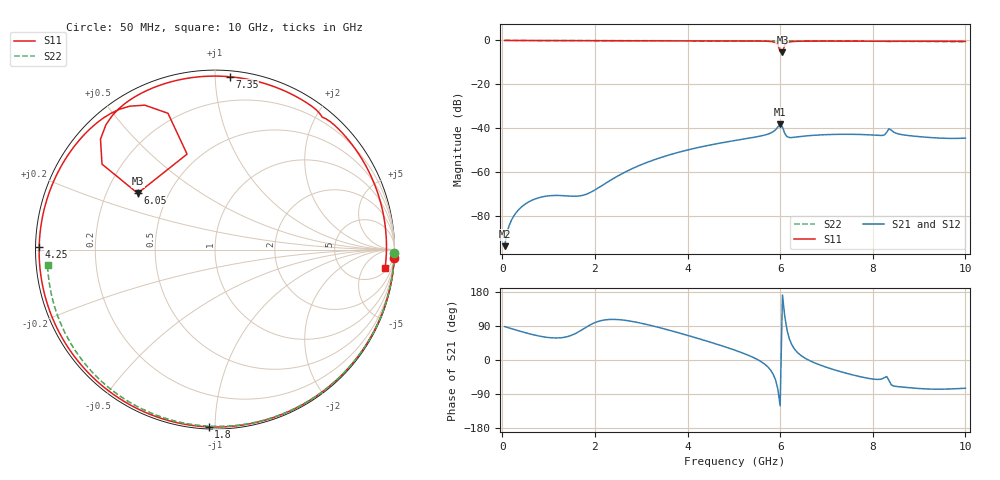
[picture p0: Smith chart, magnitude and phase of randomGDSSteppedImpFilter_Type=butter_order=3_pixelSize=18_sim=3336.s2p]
! freq	dB(S11)	phase(S11)	dB(S12)	phase(S12)
!  dB(S21)	phase(S21)	dB(S22)	phase(S22)
!S-par simulation data
#  GHz  S  DB  R 50
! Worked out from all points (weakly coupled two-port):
!   200 points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, 50 MHz to 10 GHz, reference 50 ohm
!   highest |S21| = -38.15 dB at 6 GHz (marker M1); lowest = -93.7 dB at 50 MHz (marker M2)
!   lowest |S11| = -5.5 dB at 6.05 GHz (marker M3), VSWR 3.28, Z = 16.7 + j14.6 ohm
!   |S11| at or under -10 dB: nowhere
!   |S22| runs from -0.6 to 0.0 dB; largest |S21 - S12| = 0
!   S11 on the Smith chart (normalised r, x): 50 MHz: 0, -41; 1.8 GHz: 0.01, -0.96; 4.25 GHz: 0.01, +0.01; 6.05 GHz: 0.33, +0.29; 7.35 GHz: 0.04, +1.09; 10 GHz: 7, -16
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0.05  -0.00 -2.8  -93.69 88.1  -93.69 88.1  -0.00 -1.0
0.25  -0.02 -14.0  -79.89 80.7  -79.89 80.7  -0.01 -5.1
0.55  -0.04 -30.4  -73.78 70.3  -73.78 70.3  -0.02 -11.2
0.95  -0.06 -51.5  -70.90 60.0  -70.90 60.0  -0.02 -19.3
1.75  -0.10 -89.9  -70.46 81.9  -70.46 81.9  -0.05 -35.3
1.8  -0.10 -92.1  -70.14 85.7  -70.14 85.7  -0.05 -36.3
2.6  -0.13 -124.7  -60.52 105.5  -60.52 105.5  -0.07 -51.7
3.4  -0.15 -153.2  -53.48 85.3  -53.48 85.3  -0.09 -66.6
4.25  -0.18 179.1  -48.67 56.0  -48.67 56.0  -0.12 -81.8
5.05  -0.22 153.7  -45.48 24.8  -45.48 24.8  -0.15 -95.6
5.65  -0.32 132.3  -43.18 -9.5  -43.18 -9.5  -0.18 -105.5
5.9  -0.97 115.9  -40.69 -52.5  -40.69 -52.5  -0.19 -109.6
6  -5.12 106.3  -38.15 -121.0  -38.15 -121.0  -0.20 -111.3
6.05  -5.47 143.9  -39.41 171.6  -39.41 171.6  -0.20 -112.1
6.1  -2.06 142.9  -42.38 114.7  -42.38 114.7  -0.20 -112.8
6.25  -0.53 127.4  -44.21 40.8  -44.21 40.8  -0.21 -115.3
6.7  -0.30 107.7  -43.23 -5.2  -43.23 -5.2  -0.24 -122.5
7.35  -0.30 85.2  -42.73 -32.3  -42.73 -32.3  -0.29 -132.7
8.2  -0.32 55.8  -43.28 -49.7  -43.28 -49.7  -0.36 -146.0
8.35  -0.45 51.0  -40.21 -53.8  -40.21 -53.8  -0.38 -148.4
9.2  -0.35 21.5  -44.15 -76.6  -44.15 -76.6  -0.47 -161.8
10  -0.42 -6.1  -44.47 -74.5  -44.47 -74.5  -0.57 -174.7
